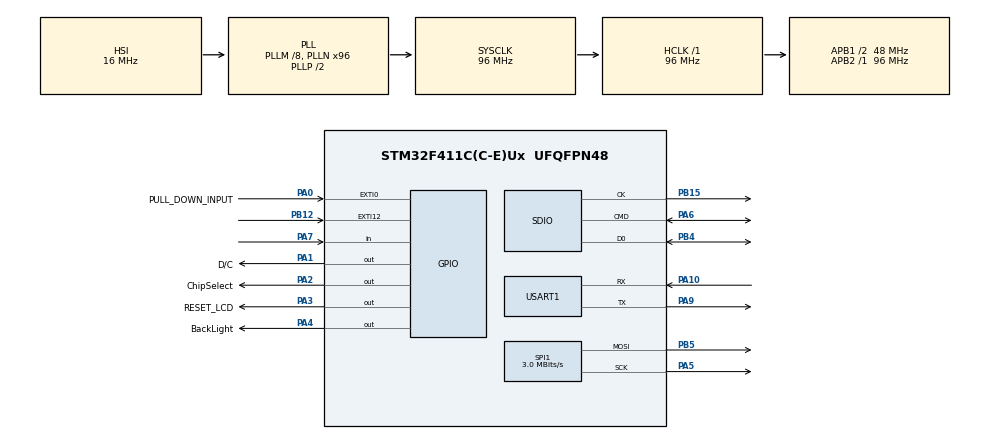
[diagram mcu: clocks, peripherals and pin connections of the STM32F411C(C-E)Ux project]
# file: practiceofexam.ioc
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Dma.Request0=USART1_RX
Dma.Request1=SDIO_RX
Dma.Request2=SDIO_TX
Dma.SDIO_RX.1.Direction=DMA_PERIPH_TO_MEMORY
Dma.SDIO_RX.1.FIFOMode=DMA_FIFOMODE_ENABLE
Dma.SDIO_RX.1.FIFOThreshold=DMA_FIFO_THRESHOLD_FULL
Dma.SDIO_RX.1.Instance=DMA2_Stream3
Dma.SDIO_RX.1.MemBurst=DMA_MBURST_INC4
Dma.SDIO_RX.1.MemDataAlignment=DMA_MDATAALIGN_WORD
Dma.SDIO_RX.1.MemInc=DMA_MINC_ENABLE
Dma.SDIO_RX.1.Mode=DMA_PFCTRL
Dma.SDIO_RX.1.PeriphBurst=DMA_PBURST_INC4
Dma.SDIO_RX.1.PeriphDataAlignment=DMA_PDATAALIGN_WORD
Dma.SDIO_RX.1.PeriphInc=DMA_PINC_DISABLE
Dma.SDIO_RX.1.Priority=DMA_PRIORITY_LOW
Dma.SDIO_TX.2.Direction=DMA_MEMORY_TO_PERIPH
Dma.SDIO_TX.2.FIFOMode=DMA_FIFOMODE_ENABLE
Dma.SDIO_TX.2.FIFOThreshold=DMA_FIFO_THRESHOLD_FULL
Dma.SDIO_TX.2.Instance=DMA2_Stream6
Dma.SDIO_TX.2.MemBurst=DMA_MBURST_INC4
Dma.SDIO_TX.2.MemDataAlignment=DMA_MDATAALIGN_WORD
Dma.SDIO_TX.2.MemInc=DMA_MINC_ENABLE
Dma.SDIO_TX.2.Mode=DMA_PFCTRL
Dma.SDIO_TX.2.PeriphBurst=DMA_PBURST_INC4
Dma.SDIO_TX.2.PeriphDataAlignment=DMA_PDATAALIGN_WORD
Dma.SDIO_TX.2.PeriphInc=DMA_PINC_DISABLE
Dma.SDIO_TX.2.Priority=DMA_PRIORITY_LOW
Dma.USART1_RX.0.Direction=DMA_PERIPH_TO_MEMORY
Dma.USART1_RX.0.FIFOMode=DMA_FIFOMODE_DISABLE
Dma.USART1_RX.0.Instance=DMA2_Stream2
Dma.USART1_RX.0.MemDataAlignment=DMA_MDATAALIGN_BYTE
Dma.USART1_RX.0.MemInc=DMA_MINC_ENABLE
Dma.USART1_RX.0.Mode=DMA_CIRCULAR
Dma.USART1_RX.0.PeriphDataAlignment=DMA_PDATAALIGN_BYTE
Dma.USART1_RX.0.PeriphInc=DMA_PINC_DISABLE
Dma.USART1_RX.0.Priority=DMA_PRIORITY_LOW
FATFS.BSP.number=1
FATFS.USE_DMA_CODE_SD=1
FATFS._USE_LFN=1
FATFS0.BSP.STBoard=false
FATFS0.BSP.api=Unknown
FATFS0.BSP.instance=PA7
FATFS0.BSP.ip=GPIO
FATFS0.BSP.mode=Input
FATFS0.BSP.name=Detect_SDIO
FATFS0.BSP.solution=PA7
Mcu.Family=STM32F4
Mcu.Name=STM32F411C(C-E)Ux
Mcu.Package=UFQFPN48
NVIC.DMA2_Stream2_IRQn=true\:0\:0\:false\:false\:true\:false\:true\:true
NVIC.DMA2_Stream3_IRQn=true\:0\:0\:false\:false\:true\:false\:true\:true
NVIC.DMA2_Stream6_IRQn=true\:0\:0\:false\:false\:true\:false\:true\:true
NVIC.EXTI0_IRQn=true\:0\:0\:false\:false\:true\:true\:true\:true
NVIC.EXTI15_10_IRQn=true\:0\:0\:false\:false\:true\:true\:true\:true
NVIC.PriorityGroup=NVIC_PRIORITYGROUP_4
NVIC.SDIO_IRQn=true\:0\:0\:false\:false\:true\:true\:true\:true
PA0-WKUP.GPIO_Label=PULL_DOWN_INPUT
PA0-WKUP.Signal=GPXTI0
PA1.GPIO_Label=D/C
PA1.Signal=GPIO_Output
PA10.Mode=Asynchronous
PA10.Signal=USART1_RX
PA13.Mode=Serial_Wire
PA13.Signal=SYS_JTMS-SWDIO
PA14.Mode=Serial_Wire
PA14.Signal=SYS_JTCK-SWCLK
PA2.GPIO_Label=ChipSelect
PA2.PinState=GPIO_PIN_SET
PA2.Signal=GPIO_Output
PA3.GPIO_Label=RESET_LCD
PA3.GPIO_Speed=GPIO_SPEED_FREQ_LOW
PA3.PinState=GPIO_PIN_SET
PA3.Signal=GPIO_Output
PA4.GPIO_Label=BackLight
PA4.PinState=GPIO_PIN_SET
PA4.Signal=GPIO_Output
PA5.Mode=TX_Only_Simplex_Unidirect_Master
PA5.Signal=SPI1_SCK
PA6.GPIO_Mode=GPIO_MODE_AF_PP
PA6.GPIO_PuPd=GPIO_PULLUP
PA6.GPIO_Speed_High_Default=GPIO_SPEED_FREQ_LOW
PA6.Mode=SD_1_bit
PA6.Signal=SDIO_CMD
PA7.Signal=GPIO_Input
PA9.Mode=Asynchronous
PA9.Signal=USART1_TX
PB12.Signal=GPXTI12
PB15.GPIO_Mode=GPIO_MODE_AF_PP
PB15.GPIO_PuPd=GPIO_PULLUP
PB15.GPIO_Speed_High_Default=GPIO_SPEED_FREQ_LOW
PB15.Mode=SD_1_bit
PB15.Signal=SDIO_CK
PB4.GPIO_Mode=GPIO_MODE_AF_PP
PB4.GPIO_PuPd=GPIO_PULLUP
PB4.GPIO_Speed_High_Default=GPIO_SPEED_FREQ_LOW
PB4.Mode=SD_1_bit
PB4.Signal=SDIO_D0
PB5.Mode=TX_Only_Simplex_Unidirect_Master
PB5.Signal=SPI1_MOSI
PH0\ -\ OSC_IN.Mode=HSE-External-Oscillator
PH0\ -\ OSC_IN.Signal=RCC_OSC_IN
PH1\ -\ OSC_OUT.Mode=HSE-External-Oscillator
PH1\ -\ OSC_OUT.Signal=RCC_OSC_OUT
ProjectManager.HeapSize=0x200
ProjectManager.StackSize=0x400
ProjectManager.TargetToolchain=STM32CubeIDE
RCC.48MHZClocksFreq_Value=48000000
RCC.AHBFreq_Value=96000000
RCC.APB1CLKDivider=RCC_HCLK_DIV2
RCC.APB1Freq_Value=48000000
RCC.APB1TimFreq_Value=96000000
RCC.APB2Freq_Value=96000000
RCC.APB2TimFreq_Value=96000000
RCC.CortexFreq_Value=96000000
RCC.HCLKFreq_Value=96000000
RCC.HSE_VALUE=25000000
RCC.HSI_VALUE=16000000
RCC.LSE_VALUE=32768
RCC.PLLM=8
RCC.PLLN=96
RCC.SYSCLKFreq_VALUE=96000000
RCC.SYSCLKSource=RCC_SYSCLKSOURCE_PLLCLK
RCC.VCOOutputFreq_Value=192000000
SDIO.ClockDiv=10
SPI1.BaudRatePrescaler=SPI_BAUDRATEPRESCALER_32
SPI1.CalculateBaudRate=3.0 MBits/s
SPI1.Direction=SPI_DIRECTION_2LINES
SPI1.Mode=SPI_MODE_MASTER
SPI1.VirtualType=VM_MASTER
USART1.VirtualMode=VM_ASYNC
VP_FATFS_VS_SDIO.Mode=SDIO
board=custom

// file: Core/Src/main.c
/* USER CODE BEGIN Header */
/**
  ******************************************************************************
  * @file           : main.c
  * @brief          : Main program body
  ******************************************************************************
  * @attention
  *
  * Copyright (c) 2024 STMicroelectronics.
  * All rights reserved.
  *
  * This software is licensed under terms that can be found in the LICENSE file
  * in the root directory of this software component.
  * If no LICENSE file comes with this software, it is provided AS-IS.
  *
  ******************************************************************************
  */
/* USER CODE END Header */
#include "main.h"
#include "dma.h"
#include "fatfs.h"
#include "sdio.h"
#include "spi.h"
#include "usart.h"
#include "gpio.h"

/* USER CODE BEGIN Includes */
#include <stdio.h>
#include <stdint.h>
#include <string.h>
#include <stdarg.h>
#include <stdbool.h>
#include "font.h"
/* USER CODE END Includes */

/* USER CODE BEGIN PTD */
typedef enum{
	SD_NEW=0,
	SD_EXIST,
	SD_APPEND
}
SD_MODE;

typedef enum {
	RED = 0,
	BLUE,
	GREEN,
	BLACK,
	PURPLE,
	WHITE
}color;
/* USER CODE END PTD */

/* USER CODE BEGIN PD */

//control pin
#define BackLightON  		HAL_GPIO_WritePin(GPIOA, GPIO_PIN_4, GPIO_PIN_SET);
#define BackLightOFF 		HAL_GPIO_WritePin(GPIOA, GPIO_PIN_4, GPIO_PIN_RESET);

#define DataSend 		 		HAL_GPIO_WritePin(GPIOA, GPIO_PIN_1, GPIO_PIN_SET);
#define CommandSend  		HAL_GPIO_WritePin(GPIOA, GPIO_PIN_1, GPIO_PIN_RESET);

#define ChipSelectHigh	HAL_GPIO_WritePin(GPIOA, GPIO_PIN_2, GPIO_PIN_SET);
#define ChipSelectLow	 	HAL_GPIO_WritePin(GPIOA, GPIO_PIN_2, GPIO_PIN_RESET);

//cmd set
#define SleepOut 0x11
#define SleepIn 0x10

#define DisplayOff 0x28
#define DisplayOn 0x29

#define WriteData 0x2C
#define MADCTL 0x36
#define COLMOD 0x3A

#define CASET 0x2A //set column address
#define RASET 0x2B //set raw address

/* USER CODE END PD */

/* USER CODE BEGIN PV */
uint8_t uart_rx_data;

uint8_t count = 0;
uint32_t pretime = 0;
uint32_t pretime2 = 0;
bool EXTI12_flag = false;
bool EXTI13_flag = false;
bool LightOn = false;

//color
uint8_t COLOR[6][3]=
{
		{0xFC,0,0}, //RED
		{0,0,0xFC}, //GREEN
		{0,0xFC,0}, //BLUE
		{0,0,0},		//BLACK
		{0xFC,0,0xFC},//PURPLE
		{0xFC,0xFC,0xFC}//WHITE
};

/* USER CODE END PV */

void SystemClock_Config(void);
/* USER CODE BEGIN PFP */
void uart_send(uint8_t uart_num,char *fmt,...);

//SD
void SD_WRITE(SD_MODE sd,char file_route[],char *fmt,...);
void SD_READ(char file_route[],uint8_t *buf, uint8_t read_byte);
void sd_init_user();

//ST7735
void ST7735_LCD_Init();
void ST7735_CMD(uint8_t command,uint8_t CS);
void ST7735_LCD_FillFullScreen(color color);
void ST7735_LCD_ADD_SET(uint8_t startx,uint8_t endx, uint8_t starty,uint8_t endy);
void ST7735_Send_Packet(uint8_t command,uint8_t *buf, size_t size);
void SEL_COLOR(color col, uint8_t *color_data);
void ST7735_LCD_FILLBlock(color col,uint8_t startx, uint8_t endx, uint8_t starty, uint8_t endy);

void HAL_GPIO_EXTI_Callback(uint16_t GPIO_Pin)
{
	if(GPIO_Pin == GPIO_PIN_12 && HAL_GetTick()-pretime > 200){
		count=(count+1)%8;
		pretime = HAL_GetTick();
		EXTI12_flag = true;
	}
	else if(GPIO_Pin == GPIO_PIN_0 && HAL_GetTick()-pretime2 > 200){
		EXTI13_flag = true;
		pretime2 = HAL_GetTick();
		LightOn = !LightOn;
	}
  UNUSED(GPIO_Pin);

}

void HAL_UART_RxCpltCallback(UART_HandleTypeDef *huart)
{
	if(huart->Instance == USART1){
		HAL_UART_Receive_DMA(&huart1, &uart_rx_data, 1);
	}
  UNUSED(huart);
}

void uart_send(uint8_t uart_num,char *fmt,...){
	va_list arg;
	uint8_t uart_send_data[40];
	memset(uart_send_data,0,40);

	va_start(arg,fmt);
	vsnprintf((char *)uart_send_data,32,fmt,arg);

	if(uart_num==1){
		HAL_UART_Transmit(&huart1, uart_send_data, 32, HAL_MAX_DELAY);
	}

	va_end(arg);
}

void SD_WRITE(SD_MODE sd,char file_route[],char *fmt,...){
	va_list arg;
	uint8_t buffer[32];

	memset(buffer,0,32);

	va_start(arg,fmt);
	vsnprintf((char *)buffer,32,fmt,arg);
	va_end(arg);

	uint8_t mode;
	if(sd == SD_NEW){
		mode = FA_CREATE_NEW|FA_WRITE;
	}
	else if(sd == SD_EXIST){
		mode = FA_OPEN_EXISTING|FA_WRITE;
	}
	else if(sd == SD_APPEND){
		mode = FA_OPEN_APPEND|FA_WRITE;
	}

	retSD = f_open(&SDFile, file_route, mode);

	if(retSD==FR_OK){
		uart_send(1,"file open success!\n");
	}
	else{
	 uart_send(1,"file error with error code : %d\n",retSD);
	 return;
	}

	UINT bw;
	retSD = f_write(&SDFile, buffer, sizeof(buffer), &bw);
	if(retSD==FR_OK){
		f_close(&SDFile);
	  uart_send(1,"file write success with bw:%d\n",bw);
	}
	else{
		f_close(&SDFile);
		uart_send(1,"file error with %d\n",retSD);
	}
}

void SD_READ(char file_route[],uint8_t *buf, uint8_t read_byte){
	retSD = f_open(&SDFile, file_route, FA_OPEN_EXISTING|FA_READ);

	if(retSD==FR_OK){
		uart_send(1,"file open success!\n");
	}
	else{
	 uart_send(1,"file error with error code : %d\n",retSD);
	 return;
	}

	UINT br;
	retSD = f_read(&SDFile, buf, read_byte, &br);

	if(retSD==FR_OK){
		f_close(&SDFile);
	  uart_send(1,"file read success with bw:%d\n",br);
	}
	else{
		f_close(&SDFile);
		uart_send(1,"file error with %d\n",retSD);
	}

}

void sd_init_user(){
  retSD = f_mount(&SDFatFS, SDPath, 1);
  if(retSD==FR_OK){
  	uart_send(1,"file mount success!\n");
  }
  else {
    uart_send(1,"file error with error code : %d\n",retSD);
    return;
  }
}

void ST7735_LCD_Init(){
	HAL_GPIO_WritePin(GPIOA, GPIO_PIN_3, GPIO_PIN_RESET);
  HAL_Delay(10);
  HAL_GPIO_WritePin(GPIOA, GPIO_PIN_3, GPIO_PIN_SET);
  HAL_Delay(10);

  ST7735_CMD(SleepOut,0);
  ST7735_CMD(DisplayOn,0);
  HAL_Delay(120);

  uint8_t command = 0xC8;
  ST7735_Send_Packet(MADCTL, &command, 1);

  command = 0x06;
  ST7735_Send_Packet(COLMOD, &command, 1);

  ST7735_LCD_ADD_SET(0, 127, 0, 127);
  ST7735_LCD_FillFullScreen(BLACK);
}

void ST7735_LCD_ADD_SET(uint8_t startx,uint8_t endx, uint8_t starty,uint8_t endy){
	uint8_t send[4]={0,startx + 2,0,endx + 2};

	ST7735_Send_Packet(CASET, send, 4);

	send[1] = starty+3;
	send[3] = endy+3;

	ST7735_Send_Packet(0x2B, send, 4);
}

void ST7735_Send_Packet(uint8_t command,uint8_t *buf, size_t size){
	ST7735_CMD(command,1);

	DataSend;
	if(HAL_SPI_Transmit(&hspi1, &buf[0], size, HAL_MAX_DELAY)!=HAL_OK){
		uart_send(1, "SPI Fail.\n");
	}

	ChipSelectHigh;
}

void ST7735_CMD(uint8_t command,uint8_t CS){
	CommandSend;
	ChipSelectLow;

	while(HAL_SPI_GetState(&hspi1)!=HAL_SPI_STATE_READY);

	if(HAL_SPI_Transmit(&hspi1, &command, 1, HAL_MAX_DELAY)!=HAL_OK){
		uart_send(1, "SPI Fail.\n");
	}

	if(CS == 0){
		ChipSelectHigh;
	}
}

void ST7735_LCD_FillFullScreen(color col) {
	ST7735_LCD_FILLBlock(col,0,127,0,127);
}

void ST7735_LCD_FILLBlock(color col,uint8_t startx, uint8_t endx, uint8_t starty, uint8_t endy) {
    uint8_t color_data[3];
    SEL_COLOR(col,color_data);

    ST7735_LCD_ADD_SET(startx,endx,starty,endy);
    ST7735_CMD(WriteData, 1);

    DataSend;
    for (uint32_t i = 0; i < (endx - startx + 1) * (endy - starty + 1); i++) {
      if (HAL_SPI_Transmit(&hspi1, color_data, 3, HAL_MAX_DELAY) != HAL_OK) {
        uart_send(1, "SPI Fail.\n");
        break;
      }
    }
    ChipSelectHigh;
}

void SEL_COLOR(color col, uint8_t *color_data){
	for(uint8_t i = 0; i < 3 ; i++){
		color_data[i] = COLOR[col][i];
	}
}

void ST7735_LCD_FILLBlock_Char(color col_back,color col_buf, uint8_t buf[font_len_y][font_len_x], uint8_t startx,uint8_t starty){
	uint8_t back_color[3], buf_color[3];
	SEL_COLOR(col_back,back_color);
	SEL_COLOR(col_buf,buf_color);

	ST7735_LCD_ADD_SET(startx, startx+font_len_x - 1, starty, starty+font_len_y - 1);

	ST7735_CMD(WriteData, 1);

	DataSend;
	for(uint8_t i=0; i<font_len_y; i++){
		for(uint8_t j=0; j<font_len_x; j++){
			if(buf[i][j]){
				HAL_SPI_Transmit(&hspi1, buf_color, 3, HAL_MAX_DELAY);
			}
			else{
				HAL_SPI_Transmit(&hspi1, back_color, 3, HAL_MAX_DELAY);
			}
		}
	}
	ChipSelectHigh;

}

void ST7735_LCD_Write_String(char *fmt, uint8_t *startx, uint8_t *starty, color font_color, color back_color){
	uint8_t string_len = strlen(fmt);
	for(uint8_t i=0;i<string_len;i++){
		switch (fmt[i]){
		case 'A':
			ST7735_LCD_FILLBlock_Char(back_color, font_color, buffer_A, *startx, *starty);
			break;
		case 'B':
			ST7735_LCD_FILLBlock_Char(back_color, font_color, buffer_B, *startx, *starty);
			break;
		case 'D':
			ST7735_LCD_FILLBlock_Char(back_color, font_color, buffer_D, *startx, *starty);
			break;
		case 'E':
			ST7735_LCD_FILLBlock_Char(back_color, font_color, buffer_E, *startx, *starty);
			break;
		case 'H':
			ST7735_LCD_FILLBlock_Char(back_color, font_color, buffer_H, *startx, *starty);
			break;
		case 'L':
			ST7735_LCD_FILLBlock_Char(back_color, font_color, buffer_L, *startx, *starty);
			break;
		case 'O':
			ST7735_LCD_FILLBlock_Char(back_color, font_color, buffer_O, *startx, *starty);
			break;
		case 'R':
			ST7735_LCD_FILLBlock_Char(back_color, font_color, buffer_R, *startx, *starty);
			break;
		case 'W':
			ST7735_LCD_FILLBlock_Char(back_color, font_color, buffer_W, *startx, *starty);
			break;
		}
		if(fmt[i] == '\n'){
			*startx = 0;
			*starty = *starty+font_len_y+1;
		}
		else if((fmt[i] >= 'A' && fmt[i] <= 'Z' )||(fmt[i] >= 'a' && fmt[i] <= 'z' )||
						(fmt[i] == ' ')){
			*startx = *startx+font_len_x+1;
		}
	}

}
/* USER CODE END PFP */

int main(void)
{

  /* MCU Configuration--------------------------------------------------------*/

  /* Reset of all peripherals, Initializes the Flash interface and the Systick. */
  HAL_Init();

  /* Configure the system clock */
  SystemClock_Config();

  /* Initialize all configured peripherals */
  MX_GPIO_Init();
  MX_DMA_Init();
  MX_USART1_UART_Init();
  MX_SDIO_SD_Init();
  MX_FATFS_Init();
  MX_SPI1_Init();
  /* USER CODE BEGIN 2 */
  UART_Start_Receive_DMA(&huart1, &uart_rx_data, 1);
  sd_init_user();

  SD_WRITE(SD_EXIST,"0:/hard.txt","test test%d",166);
  uint8_t buf[32];
  SD_READ("0:/hard.txt",buf,32);

  ST7735_LCD_Init();
  uart_send(1,"%s",buf);
  uint8_t startx = 0;
  uint8_t starty = 0;

  /* USER CODE END 2 */

  /* Infinite loop */
  /* USER CODE BEGIN WHILE */
  while (1)
  {
  	if(EXTI12_flag){
  		switch (count){
  		case 0:
    		ST7735_LCD_FillFullScreen(RED);
    		break;
  		case 1:
    		ST7735_LCD_FillFullScreen(GREEN);
    		break;
  		case 2:
    	  ST7735_LCD_FillFullScreen(BLUE);
    	  break;
  		case 3:
    	  ST7735_LCD_FillFullScreen(BLACK);
    	  break;
  		case 4:
    	  ST7735_LCD_FillFullScreen(PURPLE);
    	  break;
  		case 5:
  			ST7735_LCD_FillFullScreen(WHITE);
  			break;
  		case 6:
        ST7735_LCD_FILLBlock(WHITE, 0, 63, 0, 63);
        ST7735_LCD_FILLBlock(BLACK, 0, 63, 64, 127);
        ST7735_LCD_FILLBlock(PURPLE, 64, 127, 0, 63);
        ST7735_LCD_FILLBlock(RED, 64, 127, 64, 127);
        break;
  		case 7:
    		ST7735_LCD_FillFullScreen(BLACK);
    	  ST7735_LCD_Write_String("HELLOW\nWORLD",&startx,&starty,PURPLE,BLACK);
    	  ST7735_LCD_Write_String("\nHELLOW\nWORLD",&startx,&starty,RED,GREEN);
    	  ST7735_LCD_Write_String("\nHELLOW\nWORLD",&startx,&starty,WHITE,BLACK);

    	  startx = 0;
    	  starty = 0;
    	  break;
  		}
  		EXTI12_flag = false;
  	}

  	if(EXTI13_flag && LightOn){
  		BackLightON;
  		EXTI13_flag = false;
  	}
  	else if(EXTI13_flag && !LightOn){
  		BackLightOFF;
  	  EXTI13_flag = false;
  	}
    /* USER CODE END WHILE */

  }
}

void SystemClock_Config(void)
{
  RCC_OscInitTypeDef RCC_OscInitStruct = {0};
  RCC_ClkInitTypeDef RCC_ClkInitStruct = {0};

  /** Configure the main internal regulator output voltage
  */
  __HAL_RCC_PWR_CLK_ENABLE();
  __HAL_PWR_VOLTAGESCALING_CONFIG(PWR_REGULATOR_VOLTAGE_SCALE1);

  /** Initializes the RCC Oscillators according to the specified parameters
  * in the RCC_OscInitTypeDef structure.
  */
  RCC_OscInitStruct.OscillatorType = RCC_OSCILLATORTYPE_HSI;
  RCC_OscInitStruct.HSIState = RCC_HSI_ON;
  RCC_OscInitStruct.HSICalibrationValue = RCC_HSICALIBRATION_DEFAULT;
  RCC_OscInitStruct.PLL.PLLState = RCC_PLL_ON;
  RCC_OscInitStruct.PLL.PLLSource = RCC_PLLSOURCE_HSI;
  RCC_OscInitStruct.PLL.PLLM = 8;
  RCC_OscInitStruct.PLL.PLLN = 96;
  RCC_OscInitStruct.PLL.PLLP = RCC_PLLP_DIV2;
  RCC_OscInitStruct.PLL.PLLQ = 4;
  if (HAL_RCC_OscConfig(&RCC_OscInitStruct) != HAL_OK)
  {
    Error_Handler();
  }

  /** Initializes the CPU, AHB and APB buses clocks
  */
  RCC_ClkInitStruct.ClockType = RCC_CLOCKTYPE_HCLK|RCC_CLOCKTYPE_SYSCLK
                              |RCC_CLOCKTYPE_PCLK1|RCC_CLOCKTYPE_PCLK2;
  RCC_ClkInitStruct.SYSCLKSource = RCC_SYSCLKSOURCE_PLLCLK;
  RCC_ClkInitStruct.AHBCLKDivider = RCC_SYSCLK_DIV1;
  RCC_ClkInitStruct.APB1CLKDivider = RCC_HCLK_DIV2;
  RCC_ClkInitStruct.APB2CLKDivider = RCC_HCLK_DIV1;

  if (HAL_RCC_ClockConfig(&RCC_ClkInitStruct, FLASH_LATENCY_3) != HAL_OK)
  {
    Error_Handler();
  }
}

void Error_Handler(void)
{
  __disable_irq();
  while (1)
  {
  }
}
